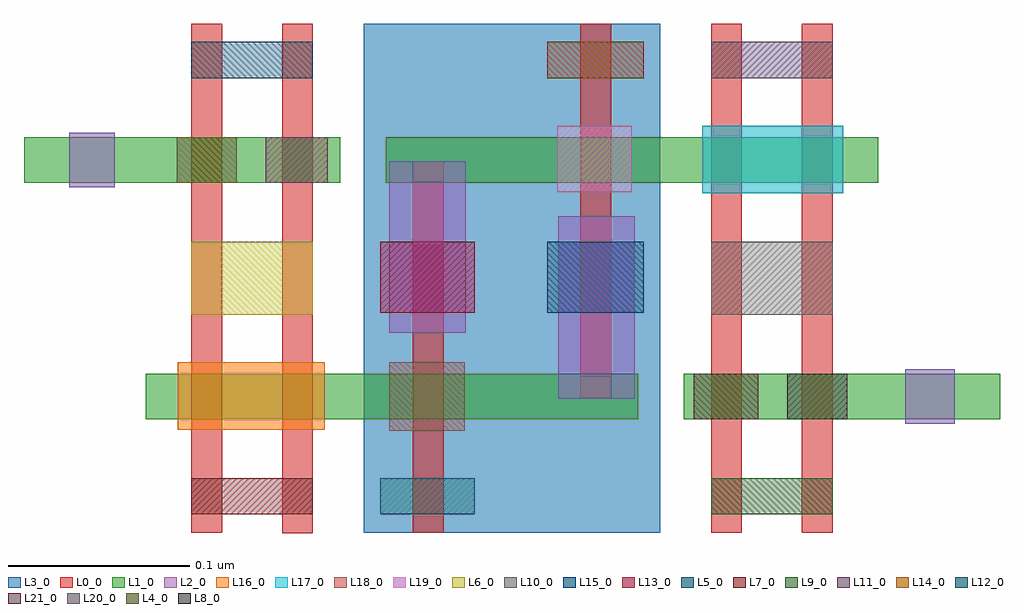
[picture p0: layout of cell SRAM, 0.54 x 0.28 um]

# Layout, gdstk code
import gdstk
lib = gdstk.Library(unit=1e-6, precision=1e-11)
def R(c, l, rs):  # rectangles x0, y0, x1, y1
    for r in rs: c.add(gdstk.rectangle(r[:2], r[2:], *l))
L0_0 = (0, 0)
L1_0 = (1, 0)
L2_0 = (2, 0)
L3_0 = (3, 0)
L4_0 = (4, 0)
L5_0 = (5, 0)
L6_0 = (6, 0)
L7_0 = (7, 0)
L8_0 = (8, 0)
L9_0 = (9, 0)
L10_0 = (10, 0)
L11_0 = (11, 0)
L12_0 = (12, 0)
L13_0 = (13, 0)
L14_0 = (14, 0)
L15_0 = (15, 0)
L16_0 = (16, 0)
L17_0 = (17, 0)
L18_0 = (18, 0)
L19_0 = (19, 0)
L20_0 = (20, 0)
L21_0 = (21, 0)

sram = lib.new_cell('SRAM')
R(sram, L0_0, [(0.117,-0.0103,0.134,0.27), (0.067,-0.0102,0.084,0.27), (0.189,-0.0102,0.206,0.1943), (0.353,-0.0102,0.37,0.27), (0.403,-0.0102,0.42,0.27), (0.281,0.0643,0.298,0.27)])
R(sram, L1_0, [(0.042,0.0525,0.313,0.0775), (0.338,0.0525,0.512,0.0775), (-0.025,0.1825,0.149,0.2075), (0.174,0.1825,0.445,0.2075)])
R(sram, L2_0, [(0.46,0.05,0.487,0.08), (0.269,0.0638,0.311,0.164), (0.176,0.1,0.218,0.1943), (0,0.18,0.025,0.21)])
R(sram, L3_0, [(0.162,-0.0102,0.325,0.27)])
R(sram, L4_0, [(0.059,0.1825,0.092,0.2075)])
R(sram, L5_0, [(0.067,0.24,0.134,0.26)])
R(sram, L6_0, [(0.067,0.11,0.134,0.15)])
R(sram, L7_0, [(0.067,0,0.134,0.02)])
R(sram, L8_0, [(0.395,0.0525,0.428,0.0775)])
R(sram, L9_0, [(0.353,0,0.42,0.02)])
R(sram, L10_0, [(0.353,0.11,0.42,0.15)])
R(sram, L11_0, [(0.353,0.24,0.42,0.26)])
R(sram, L12_0, [(0.171,0,0.223,0.02)])
R(sram, L13_0, [(0.171,0.111,0.223,0.15)])
R(sram, L14_0, [(0.263,0.24,0.316,0.26)])
R(sram, L15_0, [(0.263,0.111,0.316,0.15)])
R(sram, L16_0, [(0.0596,0.0465,0.1405,0.0837), (0.0596,0.0465,0.1405,0.0837)])
R(sram, L17_0, [(0.3481,0.1766,0.4257,0.2137), (0.3481,0.1766,0.4257,0.2137)])
R(sram, L18_0, [(0.176,0.046,0.2175,0.0837), (0.176,0.046,0.2175,0.0837)])
R(sram, L19_0, [(0.2683,0.1771,0.3093,0.2137), (0.2683,0.1771,0.3093,0.2137)])
R(sram, L20_0, [(0.108,0.1825,0.142,0.2075)])
R(sram, L21_0, [(0.3435,0.0525,0.379,0.0775)])

lib.write_gds('SRAM.gds')
